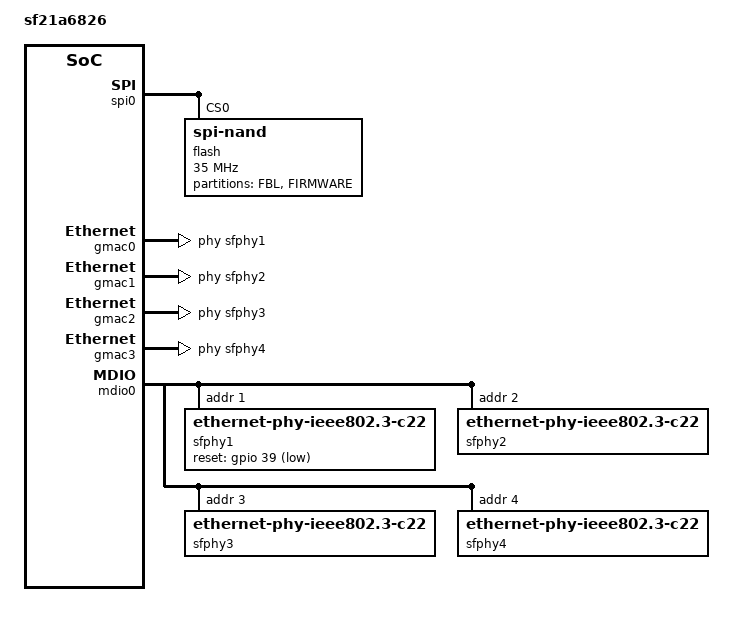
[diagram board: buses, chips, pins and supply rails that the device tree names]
// SPDX-License-Identifier: GPL-2.0

/dts-v1/;
#include "sf21a6826_fullmask.dtsi"

/ {
	model = "sf21a6826";
	compatible = "siflower,sf21a6826";

	chosen {
		stdout-path = &uart1;
		tick-timer = &timer;
	};

};

&soc {
	pinctrl-names = "default";
	pinctrl-0 = <&clk_pins>;
};

&uart1 {
	u-boot,dm-pre-reloc;
};

&watchdog {
	u-boot,dm-pre-reloc;
};

&timer0 {
	u-boot,dm-pre-reloc;
};

&spi0 {
     status = "okay";

     flash@0 {
         compatible = "spi-nand";
         reg = <0>;
         spi-max-frequency = <35000000>;
         spi-tx-bus-width = <2>;
         spi-rx-bus-width = <2>;
         #address-cells = <1>;
         #size-cells = <1>;

          partitions {
             compatible = "fixed-partitions";
             #address-cells = <1>;
             #size-cells = <1>;

             partition@0 {
                 label = "FBL";
                 reg = <0x0 0x20000>;
             };

             partition@20000 {
                 label = "FIRMWARE";
                 reg = <0x20000 0xffe0000>;
             };
         };
     };
};

&gmac0 {
	status = "okay";
	local-mac-address = [10 23 45 67 89 ab];
	phy-handle = <&sfphy1>;
};

&gmac1 {
	status = "okay";
	local-mac-address = [10 23 45 67 89 ab];
	phy-handle = <&sfphy2>;
};

&gmac2 {
	status = "okay";
	local-mac-address = [10 23 45 67 89 ab];
	phy-handle = <&sfphy3>;
};

&gmac3 {
	status = "okay";
	local-mac-address = [10 23 45 67 89 ab];
	phy-handle = <&sfphy4>;
};

&mdio0 {
	sfphy1: ethernet-phy@1 {
		compatible = "ethernet-phy-ieee802.3-c22";
		reg = <0x1>;
		reset-gpios = <&gpio 39 GPIO_ACTIVE_LOW>;
		reset-assert-us = <10000>;
		reset-deassert-us = <100000>;
	};

	sfphy2: ethernet-phy@2 {
		compatible = "ethernet-phy-ieee802.3-c22";
		reg = <0x2>;
	};

	sfphy3: ethernet-phy@3 {
		compatible = "ethernet-phy-ieee802.3-c22";
		reg = <0x3>;
	};

	sfphy4: ethernet-phy@4 {
		compatible = "ethernet-phy-ieee802.3-c22";
		reg = <0x4>;
	};
};

&xpcs0 {
	enable;
};
